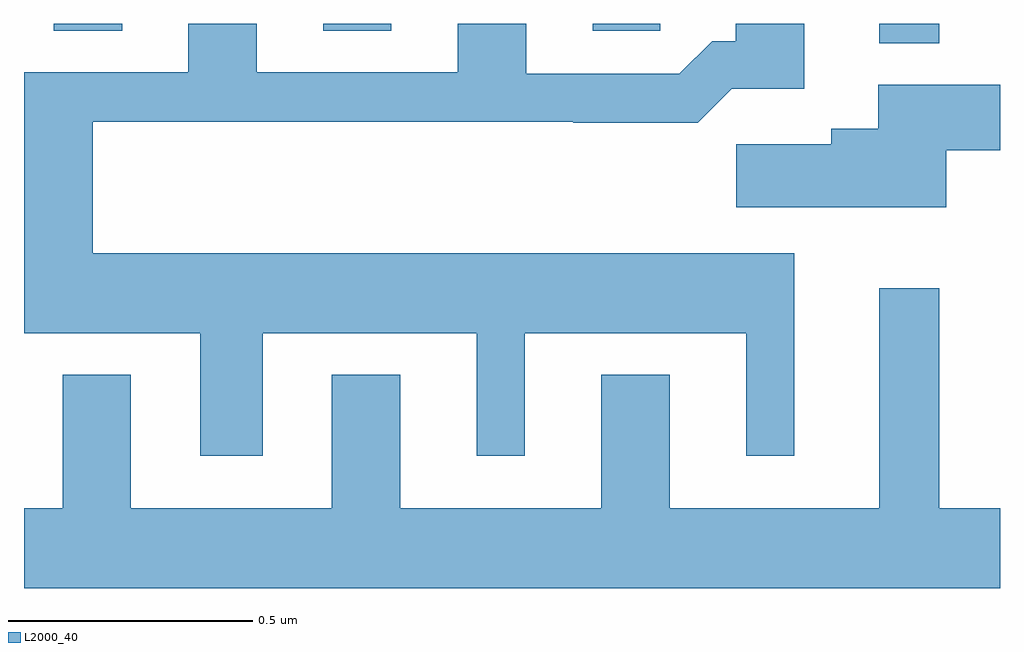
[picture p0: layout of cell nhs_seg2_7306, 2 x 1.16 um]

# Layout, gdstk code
import gdstk
lib = gdstk.Library(unit=1e-6, precision=1e-09)
def R(c, l, rs):  # rectangles x0, y0, x1, y1
    for r in rs: c.add(gdstk.rectangle(r[:2], r[2:], *l))
def P(c, l, *ps):  # polygons
    for p in ps: c.add(gdstk.Polygon(p, *l))
L2000_40 = (2000, 40)

nhs_seg2_7306 = lib.new_cell('nhs_seg2_7306')
R(nhs_seg2_7306, L2000_40, [(203.753,640.76,203.875,640.8), (202.061,640.786,202.201,640.8), (202.613,640.786,202.753,640.8), (203.165,640.786,203.304,640.8)])
P(nhs_seg2_7306, L2000_40, [(202.489,640.166),(202.928,640.166),(202.928,639.915),(203.026,639.915),(203.026,640.166),(203.48,640.166),(203.48,639.915),(203.578,639.915),(203.578,640.33),(202.141,640.33),(202.141,640.6),(203.125,640.6),(203.125,640.598),(203.381,640.598),(203.45,640.667),(203.599,640.667),(203.599,640.8),(203.459,640.8),(203.459,640.765),(203.41,640.765),(203.343,640.698),(203.029,640.698),(203.029,640.8),(202.889,640.8),(202.889,640.701),(202.477,640.701),(202.477,640.8),(202.337,640.8),(202.337,640.701),(202,640.701),(202,640.166),(202.361,640.166),(202.361,639.915),(202.489,639.915)],
  [(203.89,640.541),(204,640.541),(204,640.675),(203.75,640.675),(203.75,640.585),(203.654,640.585),(203.654,640.553),(203.46,640.553),(203.46,640.424),(203.89,640.424)],
  [(204,639.808),(203.875,639.808),(203.875,640.258),(203.753,640.258),(203.753,639.808),(203.323,639.808),(203.323,640.081),(203.183,640.081),(203.183,639.808),(202.771,639.808),(202.771,640.081),(202.631,640.081),(202.631,639.808),(202.219,639.808),(202.219,640.081),(202.079,640.081),(202.079,639.808),(202,639.808),(202,639.644),(204,639.644)])

lib.write_gds('nhs_seg2_7306.gds')
